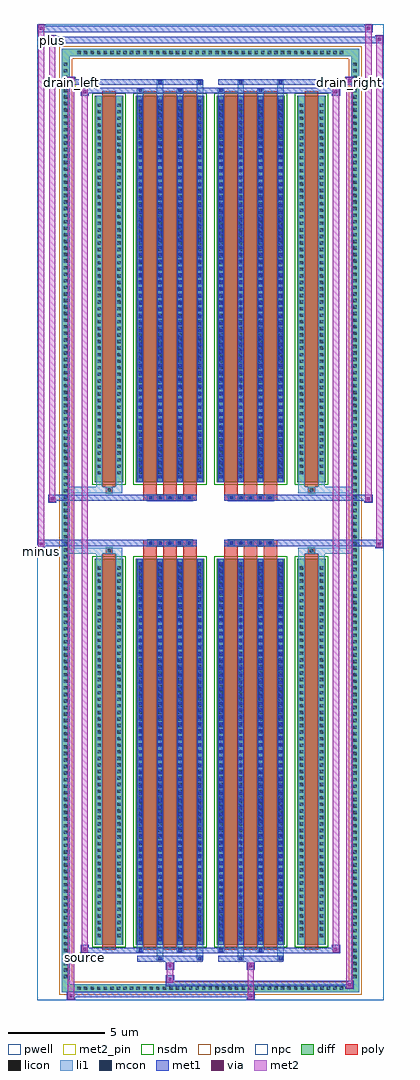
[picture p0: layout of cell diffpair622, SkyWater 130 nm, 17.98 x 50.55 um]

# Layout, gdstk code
import gdstk
lib = gdstk.Library(unit=1e-6, precision=5e-09)
def R(c, l, rs):  # rectangles x0, y0, x1, y1
    for r in rs: c.add(gdstk.rectangle(r[:2], r[2:], *l))
def A(c, l, x, y, w, h, nx, ny, dx, dy):  # array of equal rectangles
    R(c, l, [(x+i*dx, y+j*dy, x+i*dx+w, y+j*dy+h) for i in range(nx) for j in range(ny)])
def P(c, l, *ps):  # polygons
    for p in ps: c.add(gdstk.Polygon(p, *l))
pwell = (64, 44)
diff = (65, 20)
poly = (66, 20)
licon = (66, 44)
li1 = (67, 20)
mcon = (67, 44)
met1 = (68, 20)
via = (68, 44)
met2_pin = (69, 16)
met2 = (69, 20)
nsdm = (93, 44)
psdm = (94, 20)
npc = (95, 20)

diffpair622 = lib.new_cell('diffpair622')
R(diffpair622, pwell, [(-8.97,-24.84,8.97,25.71), (-6.29,-23.03,-0.01,-0.805), (0.01,-23.03,6.29,-0.805), (-6.29,0.805,-0.01,23.03), (0.01,0.805,6.29,23.03)])
A(diffpair622, diff, -7.005, -24.44, 0.41, 0.41, 41, 2, 0.34, 48.47)
A(diffpair622, diff, -7.7, -23.835, 0.41, 0.41, 1, 140, 0, 0.34)
A(diffpair622, diff, 7.29, -23.835, 0.41, 0.41, 1, 140, 0, 0.34)
R(diffpair622, diff, [(-7.005,-24.44,7.005,-24.03), (-7.7,-23.835,-7.29,23.835), (7.29,-23.835,7.7,23.835), (-5.98,-21.985,-4.5,-1.985), (-3.86,-21.985,-0.32,-1.985), (0.32,-21.985,3.86,-1.985), (4.5,-21.985,5.98,-1.985), (-5.98,1.985,-4.5,21.985), (-3.86,1.985,-0.32,21.985), (0.32,1.985,3.86,21.985), (4.5,1.985,5.98,21.985), (-7.005,24.03,7.005,24.44)])
P(diffpair622, diff, [(7.7,24.44),(-7.7,24.44),(-7.7,-24.03),(-7.29,-24.03),(-7.29,24.03),(7.29,24.03),(7.29,-24.03),(-7.29,-24.03),(-7.7,-24.03),(-7.7,-24.44),(7.7,-24.44)])
A(diffpair622, poly, -3.47, -22.235, 0.7, 20.5, 3, 2, 1.03, 23.97)
A(diffpair622, poly, 0.71, -22.235, 0.7, 20.5, 3, 2, 1.03, 23.97)
A(diffpair622, poly, -3.47, -1.735, 0.7, 0.4, 3, 2, 1.03, 3.07)
A(diffpair622, poly, 0.71, -1.735, 0.7, 0.4, 3, 2, 1.03, 3.07)
A(diffpair622, poly, -3.255, -1.335, 0.33, 0.33, 5, 2, 0.5, 2.34)
A(diffpair622, poly, 0.925, -1.335, 0.33, 0.33, 5, 2, 0.5, 2.34)
R(diffpair622, poly, [(-5.59,-22.235,-4.89,-1.735), (4.89,-22.235,5.59,-1.735), (-5.405,-1.735,-5.075,-1.405), (-5.405,-1.735,-5.075,-1.405), (5.075,-1.735,5.405,-1.405), (5.075,-1.735,5.405,-1.405), (-3.47,-1.335,-0.71,-1.005), (0.71,-1.335,3.47,-1.005), (-3.47,1.005,-0.71,1.335), (0.71,1.005,3.47,1.335), (-5.405,1.405,-5.075,1.735), (-5.405,1.405,-5.075,1.735), (5.075,1.405,5.405,1.735), (5.075,1.405,5.405,1.735), (-5.59,1.735,-4.89,22.235), (4.89,1.735,5.59,22.235)])
A(diffpair622, licon, -6.885, -24.32, 0.17, 0.17, 41, 2, 0.34, 48.47)
A(diffpair622, licon, -7.58, -23.715, 0.17, 0.17, 1, 140, 0, 0.34)
A(diffpair622, licon, 7.41, -23.715, 0.17, 0.17, 1, 140, 0, 0.34)
A(diffpair622, licon, -5.84, -21.59, 0.17, 0.17, 1, 57, 0, 0.34)
A(diffpair622, licon, -4.81, -21.59, 0.17, 0.17, 1, 57, 0, 0.34)
A(diffpair622, licon, -3.72, -21.59, 0.17, 0.17, 4, 57, 1.03, 0.34)
A(diffpair622, licon, 0.46, -21.59, 0.17, 0.17, 4, 57, 1.03, 0.34)
A(diffpair622, licon, 4.64, -21.59, 0.17, 0.17, 1, 57, 0, 0.34)
A(diffpair622, licon, 5.67, -21.59, 0.17, 0.17, 1, 57, 0, 0.34)
A(diffpair622, licon, -3.175, -1.255, 0.17, 0.17, 5, 2, 0.5, 2.34)
A(diffpair622, licon, 1.005, -1.255, 0.17, 0.17, 5, 2, 0.5, 2.34)
A(diffpair622, licon, -5.84, 2.38, 0.17, 0.17, 1, 57, 0, 0.34)
A(diffpair622, licon, -4.81, 2.38, 0.17, 0.17, 1, 57, 0, 0.34)
A(diffpair622, licon, -3.72, 2.38, 0.17, 0.17, 4, 57, 1.03, 0.34)
A(diffpair622, licon, 0.46, 2.38, 0.17, 0.17, 4, 57, 1.03, 0.34)
A(diffpair622, licon, 4.64, 2.38, 0.17, 0.17, 1, 57, 0, 0.34)
A(diffpair622, licon, 5.67, 2.38, 0.17, 0.17, 1, 57, 0, 0.34)
R(diffpair622, licon, [(-5.325,-1.655,-5.155,-1.485), (5.155,-1.655,5.325,-1.485), (-5.325,1.485,-5.155,1.655), (5.155,1.485,5.325,1.655)])
A(diffpair622, li1, -6.965, -24.4, 0.33, 0.33, 41, 2, 0.34, 48.47)
A(diffpair622, li1, -7.66, -23.795, 0.33, 0.33, 1, 140, 0, 0.34)
A(diffpair622, li1, 7.33, -23.795, 0.33, 0.33, 1, 140, 0, 0.34)
A(diffpair622, li1, -3.8, -21.985, 0.33, 20, 4, 2, 1.03, 23.97)
A(diffpair622, li1, 0.38, -21.985, 0.33, 20, 4, 2, 1.03, 23.97)
A(diffpair622, li1, -3.72, -21.79, 0.17, 0.17, 4, 55, 1.03, 0.36)
A(diffpair622, li1, -3.72, -21.79, 0.17, 19.61, 4, 2, 1.03, 23.97)
A(diffpair622, li1, 0.46, -21.79, 0.17, 0.17, 4, 55, 1.03, 0.36)
A(diffpair622, li1, 0.46, -21.79, 0.17, 19.61, 4, 2, 1.03, 23.97)
A(diffpair622, li1, -5.92, -21.67, 0.33, 0.33, 1, 57, 0, 0.34)
A(diffpair622, li1, -4.89, -21.67, 0.33, 0.33, 1, 57, 0, 0.34)
A(diffpair622, li1, -3.8, -21.67, 0.33, 0.33, 4, 57, 1.03, 0.34)
A(diffpair622, li1, 0.38, -21.67, 0.33, 0.33, 4, 57, 1.03, 0.34)
A(diffpair622, li1, 4.56, -21.67, 0.33, 0.33, 1, 57, 0, 0.34)
A(diffpair622, li1, 5.59, -21.67, 0.33, 0.33, 1, 57, 0, 0.34)
A(diffpair622, li1, -3.255, -1.335, 0.33, 0.33, 5, 2, 0.5, 2.34)
A(diffpair622, li1, 0.925, -1.335, 0.33, 0.33, 5, 2, 0.5, 2.34)
A(diffpair622, li1, -3.72, 2.18, 0.17, 0.17, 4, 55, 1.03, 0.36)
A(diffpair622, li1, 0.46, 2.18, 0.17, 0.17, 4, 55, 1.03, 0.36)
A(diffpair622, li1, -5.92, 2.3, 0.33, 0.33, 1, 57, 0, 0.34)
A(diffpair622, li1, -4.89, 2.3, 0.33, 0.33, 1, 57, 0, 0.34)
A(diffpair622, li1, -3.8, 2.3, 0.33, 0.33, 4, 57, 1.03, 0.34)
A(diffpair622, li1, 0.38, 2.3, 0.33, 0.33, 4, 57, 1.03, 0.34)
A(diffpair622, li1, 4.56, 2.3, 0.33, 0.33, 1, 57, 0, 0.34)
A(diffpair622, li1, 5.59, 2.3, 0.33, 0.33, 1, 57, 0, 0.34)
R(diffpair622, li1, [(-7.7,-24.44,-7.29,-24.03), (-7.7,-24.44,-7.29,-24.03), (-7.29,-24.44,7.29,-24.03), (7.29,-24.44,7.7,-24.03), (7.29,-24.44,7.7,-24.03), (-7.7,-24.03,-7.29,24.03), (7.29,-24.03,7.7,24.03), (-2.77,-22.79,-2.44,-21.985), (-2.69,-22.79,-2.52,-22.62), (-0.71,-22.79,-0.38,-21.985), (-0.63,-22.79,-0.46,-22.62), (1.41,-22.79,1.74,-21.985), (1.49,-22.79,1.66,-22.62), (3.47,-22.79,3.8,-21.985), (3.55,-22.79,3.72,-22.62), (-3.8,-22.36,-3.47,-21.985), (-3.72,-22.36,-3.55,-22.19), (-1.74,-22.36,-1.41,-21.985), (-1.66,-22.36,-1.49,-22.19), (0.38,-22.36,0.71,-21.985), (0.46,-22.36,0.63,-22.19), (2.44,-22.36,2.77,-21.985), (2.52,-22.36,2.69,-22.19), (-5.92,-21.985,-5.59,-1.985), (-4.89,-21.985,-4.56,-1.985), (4.56,-21.985,4.89,-1.985), (5.59,-21.985,5.92,-1.985), (-5.92,-1.985,-5.59,-1.405), (-4.89,-1.985,-4.56,-1.405), (4.56,-1.985,4.89,-1.405), (5.59,-1.985,5.92,-1.405), (-7.7,-1.735,-5.405,-1.405), (-5.92,-1.735,-5.405,-1.405), (-5.405,-1.735,-5.075,-1.405), (-5.075,-1.735,-4.56,-1.405), (4.56,-1.735,5.075,-1.405), (5.075,-1.735,5.405,-1.405), (5.075,-1.735,7.7,-1.405), (5.405,-1.735,5.92,-1.405), (-7.7,1.405,-5.405,1.735), (-5.92,1.405,-5.405,1.735), (-5.92,1.405,-5.59,1.985), (-5.405,1.405,-5.075,1.735), (-5.075,1.405,-4.56,1.735), (-4.89,1.405,-4.56,1.985), (4.56,1.405,5.075,1.735), (4.56,1.405,4.89,1.985), (5.075,1.405,5.405,1.735), (5.075,1.405,7.7,1.735), (5.405,1.405,5.92,1.735), (5.59,1.405,5.92,1.985), (-5.92,1.985,-5.59,21.985), (-4.89,1.985,-4.56,21.985), (4.56,1.985,4.89,21.985), (5.59,1.985,5.92,21.985), (-3.8,21.985,-3.47,22.36), (-2.77,21.985,-2.44,22.79), (-1.74,21.985,-1.41,22.36), (-0.71,21.985,-0.38,22.79), (0.38,21.985,0.71,22.36), (1.41,21.985,1.74,22.79), (2.44,21.985,2.77,22.36), (3.47,21.985,3.8,22.79), (-3.72,22.19,-3.55,22.36), (-1.66,22.19,-1.49,22.36), (0.46,22.19,0.63,22.36), (2.52,22.19,2.69,22.36), (-2.69,22.62,-2.52,22.79), (-0.63,22.62,-0.46,22.79), (1.49,22.62,1.66,22.79), (3.55,22.62,3.72,22.79), (-7.7,24.03,-7.29,24.44), (-7.7,24.03,-7.29,24.44), (-7.29,24.03,7.29,24.44), (7.29,24.03,7.7,24.44), (7.29,24.03,7.7,24.44)])
A(diffpair622, mcon, -3.72, -21.79, 0.17, 0.17, 4, 55, 1.03, 0.36)
A(diffpair622, mcon, 0.46, -21.79, 0.17, 0.17, 4, 55, 1.03, 0.36)
A(diffpair622, mcon, -3.175, -1.255, 0.17, 0.17, 5, 2, 0.5, 2.34)
A(diffpair622, mcon, 1.005, -1.255, 0.17, 0.17, 5, 2, 0.5, 2.34)
A(diffpair622, mcon, -3.72, 2.18, 0.17, 0.17, 4, 55, 1.03, 0.36)
A(diffpair622, mcon, 0.46, 2.18, 0.17, 0.17, 4, 55, 1.03, 0.36)
R(diffpair622, mcon, [(-2.69,-22.79,-2.52,-22.62), (-0.63,-22.79,-0.46,-22.62), (1.49,-22.79,1.66,-22.62), (3.55,-22.79,3.72,-22.62), (-3.72,-22.36,-3.55,-22.19), (-1.66,-22.36,-1.49,-22.19), (0.46,-22.36,0.63,-22.19), (2.52,-22.36,2.69,-22.19), (-3.72,22.19,-3.55,22.36), (-1.66,22.19,-1.49,22.36), (0.46,22.19,0.63,22.36), (2.52,22.19,2.69,22.36), (-2.69,22.62,-2.52,22.79), (-0.63,22.62,-0.46,22.79), (1.49,22.62,1.66,22.79), (3.55,22.62,3.72,22.79)])
A(diffpair622, met1, -3.78, -21.985, 0.29, 20, 4, 2, 1.03, 23.97)
A(diffpair622, met1, 0.4, -21.985, 0.29, 20, 4, 2, 1.03, 23.97)
A(diffpair622, met1, -3.78, -21.85, 0.29, 0.29, 4, 55, 1.03, 0.36)
A(diffpair622, met1, 0.4, -21.85, 0.29, 0.29, 4, 55, 1.03, 0.36)
A(diffpair622, met1, -3.235, -1.315, 0.29, 0.29, 5, 2, 0.5, 2.34)
A(diffpair622, met1, 0.945, -1.315, 0.29, 0.29, 5, 2, 0.5, 2.34)
A(diffpair622, met1, -3.78, 2.12, 0.29, 0.29, 4, 55, 1.03, 0.36)
A(diffpair622, met1, 0.4, 2.12, 0.29, 0.29, 4, 55, 1.03, 0.36)
R(diffpair622, met1, [(-7.43,-24.84,-7,-24.41), (1.875,-24.84,2.305,-24.41), (-7.43,-24.7,2.305,-24.41), (7,-24.27,7.43,-23.84), (-2.305,-24.13,7.43,-23.84), (-2.305,-23.99,-1.875,-23.56), (-2.305,-23.28,-1.875,-22.85), (1.875,-23.28,2.305,-22.85), (-3.78,-22.85,-0.4,-22.56), (-2.75,-22.85,-2.46,-22.56), (-0.69,-22.85,-0.4,-22.56), (0.4,-22.85,3.78,-22.56), (1.43,-22.85,1.72,-22.56), (3.49,-22.85,3.78,-22.56), (-6.72,-22.42,-6.29,-21.99), (-6.72,-22.42,-3.78,-22.13), (-3.78,-22.42,-3.49,-22.13), (-3.78,-22.42,-0.4,-22.13), (-1.72,-22.42,-1.43,-22.13), (-0.4,-22.42,0.4,-22.13), (0.4,-22.42,0.69,-22.13), (0.4,-22.42,3.78,-22.13), (2.46,-22.42,2.75,-22.13), (3.78,-22.42,6.72,-22.13), (6.29,-22.42,6.72,-21.99), (-8.97,-1.435,-8.54,-1.005), (8.54,-1.435,8.97,-1.005), (-8.97,-1.335,-0.71,-1.005), (-3.47,-1.335,-0.71,-1.005), (0.71,-1.335,3.47,-1.005), (0.71,-1.335,8.97,-1.005), (-8.4,0.905,-7.97,1.335), (7.97,0.905,8.4,1.335), (-8.4,1.005,-3.47,1.335), (-3.47,1.005,-0.71,1.335), (0.71,1.005,3.47,1.335), (3.47,1.005,8.4,1.335), (-6.72,21.99,-6.29,22.42), (6.29,21.99,6.72,22.42), (-6.72,22.13,-3.78,22.42), (-3.78,22.13,-3.49,22.42), (-3.78,22.13,-0.4,22.42), (-1.72,22.13,-1.43,22.42), (-0.4,22.13,0.4,22.42), (0.4,22.13,0.69,22.42), (0.4,22.13,3.78,22.42), (2.46,22.13,2.75,22.42), (3.78,22.13,6.72,22.42), (-7.43,22.56,-7,22.99), (-7.43,22.56,-3.78,22.85), (-3.78,22.56,-0.4,22.85), (-2.75,22.56,-2.46,22.85), (-0.69,22.56,-0.4,22.85), (0.4,22.56,3.78,22.85), (1.43,22.56,1.72,22.85), (3.49,22.56,3.78,22.85), (3.78,22.56,7.43,22.85), (7,22.56,7.43,22.99), (-8.4,24.71,-7.97,25.14), (-8.4,24.71,-6.29,25.04), (-6.29,24.71,6.29,25.04), (6.29,24.71,8.97,25.04), (8.54,24.71,8.97,25.14), (-8.97,25.28,-8.54,25.71), (-8.97,25.28,-6.29,25.61), (-6.29,25.28,6.29,25.61), (6.29,25.28,8.4,25.61), (7.97,25.28,8.4,25.71)])
R(diffpair622, via, [(-7.29,-24.7,-7.14,-24.55), (2.015,-24.7,2.165,-24.55), (7.14,-24.13,7.29,-23.98), (-2.165,-23.85,-2.015,-23.7), (-2.165,-23.14,-2.015,-22.99), (2.015,-23.14,2.165,-22.99), (-6.58,-22.28,-6.43,-22.13), (6.43,-22.28,6.58,-22.13), (-8.83,-1.295,-8.68,-1.145), (8.68,-1.295,8.83,-1.145), (-8.26,1.045,-8.11,1.195), (8.11,1.045,8.26,1.195), (-6.58,22.13,-6.43,22.28), (6.43,22.13,6.58,22.28), (-7.29,22.7,-7.14,22.85), (7.14,22.7,7.29,22.85), (-8.26,24.85,-8.11,25), (8.68,24.85,8.83,25), (-8.83,25.42,-8.68,25.57), (8.11,25.42,8.26,25.57)])
R(diffpair622, met2_pin, [(-6.755,-22.87,-6.255,-22.37), (-9.005,-1.885,-8.505,-1.385), (-7.465,22.44,-6.965,22.94), (6.965,22.44,7.465,22.94), (-8.435,24.59,-7.935,25.09)])
R(diffpair622, met2, [(-7.38,-24.79,-7.05,-24.46), (-7.38,-24.79,-7.05,22.94), (1.925,-24.79,2.255,-24.46), (1.925,-24.46,2.255,-23.23), (7.05,-24.22,7.38,-23.89), (7.05,-24.22,7.38,22.94), (-2.255,-23.94,-1.925,-23.61), (-2.255,-23.61,-1.925,-23.23), (-2.255,-23.23,-1.925,-22.9), (1.925,-23.23,2.255,-22.9), (-6.67,-22.37,-6.34,-22.04), (-6.67,-22.37,-6.34,22.37), (6.34,-22.37,6.67,-22.04), (6.34,-22.37,6.67,22.37), (-8.92,-1.385,-8.59,-1.055), (-8.92,-1.385,-8.59,25.66), (8.59,-1.385,8.92,-1.055), (8.59,-1.385,8.92,25.09), (-8.35,0.955,-8.02,1.285), (-8.35,0.955,-8.02,25.09), (8.02,0.955,8.35,1.285), (8.02,0.955,8.35,25.66), (-6.67,22.04,-6.34,22.37), (6.34,22.04,6.67,22.37), (-7.38,22.61,-7.05,22.94), (7.05,22.61,7.38,22.94), (-8.35,24.76,-8.02,25.09), (8.59,24.76,8.92,25.09), (-8.92,25.33,-8.59,25.66), (8.02,25.33,8.35,25.66)])
P(diffpair622, met2, [(8.92,-1.385),(8.92,-1.385),(8.92,-1.055),(8.92,-1.055)],
  [(8.92,24.76),(8.92,24.76),(8.92,25.09),(8.92,25.09)],
  [(-8.59,-1.385),(-8.59,-1.385),(-8.59,-1.055),(-8.59,-1.055)],
  [(-8.59,25.33),(-8.59,25.33),(-8.59,25.66),(-8.59,25.66)],
  [(8.35,0.955),(8.35,0.955),(8.35,1.285),(8.35,1.285)],
  [(8.35,25.33),(8.35,25.33),(8.35,25.66),(8.35,25.66)],
  [(-8.02,0.955),(-8.02,0.955),(-8.02,1.285),(-8.02,1.285)],
  [(-8.02,24.76),(-8.02,24.76),(-8.02,25.09),(-8.02,25.09)],
  [(-7.05,-24.79),(-7.05,-24.79),(-7.05,-24.46),(-7.05,-24.46)],
  [(-7.05,22.61),(-7.05,22.61),(-7.05,22.94),(-7.05,22.94)],
  [(7.38,-24.22),(7.38,-24.22),(7.38,-23.89),(7.38,-23.89)],
  [(7.38,22.61),(7.38,22.61),(7.38,22.94),(7.38,22.94)],
  [(-6.34,-22.37),(-6.34,-22.37),(-6.34,-22.04),(-6.34,-22.04)],
  [(-6.34,22.04),(-6.34,22.04),(-6.34,22.37),(-6.34,22.37)],
  [(6.67,-22.37),(6.67,-22.37),(6.67,-22.04),(6.67,-22.04)],
  [(6.67,22.04),(6.67,22.04),(6.67,22.37),(6.67,22.37)])
R(diffpair622, nsdm, [(-6.11,-22.115,-4.37,-1.855), (-3.99,-22.115,-0.19,-1.855), (0.19,-22.115,3.99,-1.855), (4.37,-22.115,6.11,-1.855), (-6.11,1.855,-4.37,22.115), (-3.99,1.855,-0.19,22.115), (0.19,1.855,3.99,22.115), (4.37,1.855,6.11,22.115)])
P(diffpair622, psdm, [(7.83,24.57),(-7.83,24.57),(-7.83,-23.9),(-7.16,-23.9),(-7.16,23.9),(7.16,23.9),(7.16,-23.9),(-7.16,-23.9),(-7.83,-23.9),(-7.83,-24.57),(7.83,-24.57)])
A(diffpair622, npc, -3.275, -1.355, 0.37, 0.37, 5, 2, 0.5, 2.34)
A(diffpair622, npc, 0.905, -1.355, 0.37, 0.37, 5, 2, 0.5, 2.34)
R(diffpair622, npc, [(-5.425,-1.755,-5.055,-1.385), (5.055,-1.755,5.425,-1.385), (-3.275,-1.355,-2.405,-0.985), (-3.275,-1.355,-2.405,-0.985), (-2.775,-1.355,-1.905,-0.985), (-2.775,-1.355,-1.905,-0.985), (-2.275,-1.355,-1.405,-0.985), (-2.275,-1.355,-1.405,-0.985), (-1.775,-1.355,-0.905,-0.985), (-1.775,-1.355,-0.905,-0.985), (0.905,-1.355,1.775,-0.985), (0.905,-1.355,1.775,-0.985), (1.405,-1.355,2.275,-0.985), (1.405,-1.355,2.275,-0.985), (1.905,-1.355,2.775,-0.985), (1.905,-1.355,2.775,-0.985), (2.405,-1.355,3.275,-0.985), (2.405,-1.355,3.275,-0.985), (-3.275,0.985,-2.405,1.355), (-3.275,0.985,-2.405,1.355), (-2.775,0.985,-1.905,1.355), (-2.775,0.985,-1.905,1.355), (-2.275,0.985,-1.405,1.355), (-2.275,0.985,-1.405,1.355), (-1.775,0.985,-0.905,1.355), (-1.775,0.985,-0.905,1.355), (0.905,0.985,1.775,1.355), (0.905,0.985,1.775,1.355), (1.405,0.985,2.275,1.355), (1.405,0.985,2.275,1.355), (1.905,0.985,2.775,1.355), (1.905,0.985,2.775,1.355), (2.405,0.985,3.275,1.355), (2.405,0.985,3.275,1.355), (-5.425,1.385,-5.055,1.755), (5.055,1.385,5.425,1.755)])
diffpair622.add(gdstk.Label('minus', (-8.755,-1.635), layer=69, texttype=5))
diffpair622.add(gdstk.Label('drain_right', (7.215,22.69), layer=69, texttype=5))
diffpair622.add(gdstk.Label('drain_left', (-7.215,22.69), layer=69, texttype=5))
diffpair622.add(gdstk.Label('source', (-6.505,-22.62), layer=69, texttype=5))
diffpair622.add(gdstk.Label('plus', (-8.185,24.84), layer=69, texttype=5))

lib.write_gds('diffpair622.gds')
